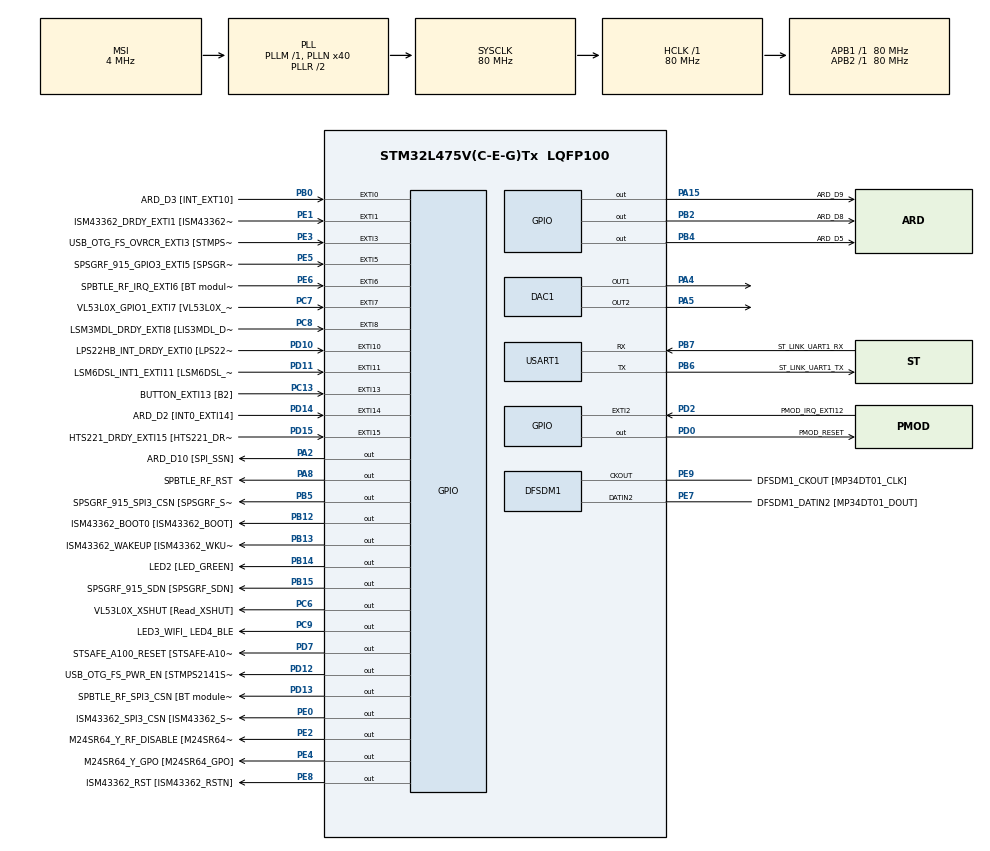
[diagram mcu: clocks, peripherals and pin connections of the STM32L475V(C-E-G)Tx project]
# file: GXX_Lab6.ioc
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DAC1.DAC_Channel-DAC_OUT2=DAC_CHANNEL_2
DFSDM1.DmaMode_reg_FIL0=ENABLE
DFSDM1.DmaMode_reg_FIL1=ENABLE
DFSDM1.FastMode_reg_FIL0=ENABLE
DFSDM1.FastMode_reg_FIL1=ENABLE
DFSDM1.Filter_regChannel_FIL0=DFSDM_CHANNEL_1
DFSDM1.Filter_regChannel_FIL1=DFSDM_CHANNEL_2
DFSDM1.Fosr_FIL0=128
DFSDM1.Fosr_FIL1=128
DFSDM1.SincOrder_FIL0=DFSDM_FILTER_SINC4_ORDER
DFSDM1.SincOrder_FIL1=DFSDM_FILTER_SINC4_ORDER
Dma.DAC_CH1.2.Direction=DMA_MEMORY_TO_PERIPH
Dma.DAC_CH1.2.Instance=DMA1_Channel3
Dma.DAC_CH1.2.MemDataAlignment=DMA_MDATAALIGN_HALFWORD
Dma.DAC_CH1.2.MemInc=DMA_MINC_ENABLE
Dma.DAC_CH1.2.Mode=DMA_NORMAL
Dma.DAC_CH1.2.PeriphDataAlignment=DMA_PDATAALIGN_HALFWORD
Dma.DAC_CH1.2.PeriphInc=DMA_PINC_DISABLE
Dma.DAC_CH1.2.Priority=DMA_PRIORITY_LOW
Dma.DAC_CH2.3.Direction=DMA_MEMORY_TO_PERIPH
Dma.DAC_CH2.3.Instance=DMA2_Channel5
Dma.DAC_CH2.3.MemDataAlignment=DMA_MDATAALIGN_HALFWORD
Dma.DAC_CH2.3.MemInc=DMA_MINC_ENABLE
Dma.DAC_CH2.3.Mode=DMA_NORMAL
Dma.DAC_CH2.3.PeriphDataAlignment=DMA_PDATAALIGN_HALFWORD
Dma.DAC_CH2.3.PeriphInc=DMA_PINC_DISABLE
Dma.DAC_CH2.3.Priority=DMA_PRIORITY_LOW
Dma.DFSDM1_FLT0.4.Direction=DMA_PERIPH_TO_MEMORY
Dma.DFSDM1_FLT0.4.Instance=DMA1_Channel4
Dma.DFSDM1_FLT0.4.MemDataAlignment=DMA_MDATAALIGN_WORD
Dma.DFSDM1_FLT0.4.MemInc=DMA_MINC_ENABLE
Dma.DFSDM1_FLT0.4.Mode=DMA_NORMAL
Dma.DFSDM1_FLT0.4.PeriphDataAlignment=DMA_PDATAALIGN_WORD
Dma.DFSDM1_FLT0.4.PeriphInc=DMA_PINC_DISABLE
Dma.DFSDM1_FLT0.4.Priority=DMA_PRIORITY_LOW
Dma.DFSDM1_FLT1.5.Direction=DMA_PERIPH_TO_MEMORY
Dma.DFSDM1_FLT1.5.Instance=DMA1_Channel5
Dma.DFSDM1_FLT1.5.MemDataAlignment=DMA_MDATAALIGN_WORD
Dma.DFSDM1_FLT1.5.MemInc=DMA_MINC_ENABLE
Dma.DFSDM1_FLT1.5.Mode=DMA_NORMAL
Dma.DFSDM1_FLT1.5.PeriphDataAlignment=DMA_PDATAALIGN_WORD
Dma.DFSDM1_FLT1.5.PeriphInc=DMA_PINC_DISABLE
Dma.DFSDM1_FLT1.5.Priority=DMA_PRIORITY_LOW
Dma.Request0=USART1_RX
Dma.Request1=USART1_TX
Dma.Request2=DAC_CH1
Dma.Request3=DAC_CH2
Dma.Request4=DFSDM1_FLT0
Dma.Request5=DFSDM1_FLT1
Dma.USART1_RX.0.Direction=DMA_PERIPH_TO_MEMORY
Dma.USART1_RX.0.Instance=DMA2_Channel7
Dma.USART1_RX.0.MemDataAlignment=DMA_MDATAALIGN_BYTE
Dma.USART1_RX.0.MemInc=DMA_MINC_ENABLE
Dma.USART1_RX.0.Mode=DMA_NORMAL
Dma.USART1_RX.0.PeriphDataAlignment=DMA_PDATAALIGN_BYTE
Dma.USART1_RX.0.PeriphInc=DMA_PINC_DISABLE
Dma.USART1_RX.0.Priority=DMA_PRIORITY_LOW
Dma.USART1_TX.1.Direction=DMA_MEMORY_TO_PERIPH
Dma.USART1_TX.1.Instance=DMA2_Channel6
Dma.USART1_TX.1.MemDataAlignment=DMA_MDATAALIGN_BYTE
Dma.USART1_TX.1.MemInc=DMA_MINC_ENABLE
Dma.USART1_TX.1.Mode=DMA_NORMAL
Dma.USART1_TX.1.PeriphDataAlignment=DMA_PDATAALIGN_BYTE
Dma.USART1_TX.1.PeriphInc=DMA_PINC_DISABLE
Dma.USART1_TX.1.Priority=DMA_PRIORITY_LOW
Mcu.Family=STM32L4
Mcu.Name=STM32L475V(C-E-G)Tx
Mcu.Package=LQFP100
NVIC.DFSDM1_FLT0_IRQn=true\:0\:0\:false\:false\:true\:true
NVIC.DFSDM1_FLT1_IRQn=true\:0\:0\:false\:false\:true\:true
NVIC.DMA1_Channel3_IRQn=true\:0\:0\:false\:false\:true\:false
NVIC.DMA1_Channel4_IRQn=true\:0\:0\:false\:false\:true\:false
NVIC.DMA1_Channel5_IRQn=true\:0\:0\:false\:false\:true\:false
NVIC.DMA2_Channel5_IRQn=true\:0\:0\:false\:false\:true\:false
NVIC.DMA2_Channel6_IRQn=true\:0\:0\:false\:false\:true\:false
NVIC.DMA2_Channel7_IRQn=true\:0\:0\:false\:false\:true\:false
NVIC.EXTI15_10_IRQn=true\:0\:0\:false\:false\:true\:true
NVIC.EXTI9_5_IRQn=true\:0\:0\:false\:false\:true\:true
NVIC.PriorityGroup=NVIC_PRIORITYGROUP_4
PA0.GPIO_Label=ARD_D1 [UART4_TX]
PA0.Signal=UART4_TX
PA1.GPIO_Label=ARD_D0 [UART4_RX]
PA1.Signal=UART4_RX
PA10.GPIO_Label=USB_OTG_FS_ID
PA10.Signal=USB_OTG_FS_ID
PA11.GPIO_Label=USB_OTG_FS_DM
PA11.Signal=USB_OTG_FS_DM
PA12.GPIO_Label=USB_OTG_FS_DP
PA12.Signal=USB_OTG_FS_DP
PA13\ (JTMS-SWDIO).GPIO_Label=SYS_JTMS_SWDIO
PA13\ (JTMS-SWDIO).Signal=SYS_JTMS-SWDIO
PA14\ (JTCK-SWCLK).GPIO_Label=SYS_JTCK_SWCLK
PA14\ (JTCK-SWCLK).Signal=SYS_JTCK-SWCLK
PA15\ (JTDI).GPIO_Label=ARD_D9
PA15\ (JTDI).Signal=GPIO_Output
PA2.GPIO_Label=ARD_D10 [SPI_SSN]
PA2.Signal=GPIO_Output
PA3.GPIO_Label=ARD_D4
PA3.Signal=S_TIM2_CH4
PA4.Signal=COMP_DAC11_group
PA5.Signal=COMP_DAC12_group
PA6.GPIO_Label=ARD_D12 [SPI1_MISO]
PA6.Signal=SPI1_MISO
PA7.GPIO_Label=ARD_D11 [SPI1_MOSI]
PA7.Signal=SPI1_MOSI
PA8.GPIO_Label=SPBTLE_RF_RST
PA8.Signal=GPIO_Output
PA9.GPIO_Label=USB_OTG_FS_VBUS [STMPS2141STR_OUT]
PA9.Signal=USB_OTG_FS_VBUS
PB0.GPIO_Label=ARD_D3 [INT_EXT10]
PB0.Signal=GPXTI0
PB1.GPIO_Label=ARD_D6 [ADC1_IN6]
PB1.Signal=ADCx_IN16
PB10.GPIO_Label=INTERNAL_I2C2_SCL [VL53L0X_SCL]
PB10.Signal=I2C2_SCL
PB11.GPIO_Label=INTERNAL_I2C2_SDA [VL53L0X_SDA]
PB11.Signal=I2C2_SDA
PB12.GPIO_Label=ISM43362_BOOT0 [ISM43362_BOOT]
PB12.Signal=GPIO_Output
PB13.GPIO_Label=ISM43362_WAKEUP [ISM43362_WKUP]
PB13.Signal=GPIO_Output
PB14.GPIO_Label=LED2 [LED_GREEN]
PB14.Signal=GPIO_Output
PB15.GPIO_Label=SPSGRF_915_SDN [SPSGRF_SDN]
PB15.Signal=GPIO_Output
PB2.GPIO_Label=ARD_D8
PB2.Signal=GPIO_Output
PB3\ (JTDO-TRACESWO).GPIO_Label=SYS_JTD0_SWO
PB3\ (JTDO-TRACESWO).Signal=SYS_JTDO-SWO
PB4\ (NJTRST).GPIO_Label=ARD_D5
PB4\ (NJTRST).Signal=GPIO_Output
PB5.GPIO_Label=SPSGRF_915_SPI3_CSN [SPSGRF_SPI_CS]
PB5.Signal=GPIO_Output
PB6.GPIO_Label=ST_LINK_UART1_TX
PB6.Mode=Asynchronous
PB6.Signal=USART1_TX
PB7.GPIO_Label=ST_LINK_UART1_RX
PB7.Mode=Asynchronous
PB7.Signal=USART1_RX
PB8.GPIO_Label=ARD_D15 [I2C1_SCL]
PB8.Signal=I2C1_SCL
PB9.GPIO_Label=ARD_D14 [I2C1_SDA]
PB9.Signal=I2C1_SDA
PC0.GPIO_Label=ARD_A5 [ADC]
PC0.Signal=ADCx_IN1
PC1.GPIO_Label=ARD_A4 [ADC]
PC1.Signal=ADCx_IN2
PC10.GPIO_Label=INTERNAL_SPI3_SCK [BT module_SPI_SCLK]
PC10.Signal=SPI3_SCK
PC11.GPIO_Label=INTERNAL_SPI3_MISO [BT module_SPI_MISO]
PC11.Signal=SPI3_MISO
PC12.GPIO_Label=INTERNAL_SPI3_MOSI [BT module_SPI_MOSI]
PC12.Signal=SPI3_MOSI
PC13.GPIO_Label=BUTTON_EXTI13 [B2]
PC13.GPIO_ModeDefaultEXTI=GPIO_MODE_IT_FALLING
PC13.Signal=GPXTI13
PC14-OSC32_IN\ (PC14).Signal=RCC_OSC32_IN
PC15-OSC32_OUT\ (PC15).Signal=RCC_OSC32_OUT
PC2.GPIO_Label=ARD_A3 [ADC]
PC2.Signal=ADCx_IN3
PC3.GPIO_Label=ARD_A2 [ADC]
PC3.Signal=ADCx_IN4
PC4.GPIO_Label=ARD_A1 [ADC]
PC4.Signal=ADCx_IN13
PC5.GPIO_Label=ARD_A0 [ADC]
PC5.Signal=ADCx_IN14
PC6.GPIO_Label=VL53L0X_XSHUT [Read_XSHUT]
PC6.Signal=GPIO_Output
PC7.GPIO_Label=VL53L0X_GPIO1_EXTI7 [VL53L0X_GPIO1]
PC7.Signal=GPXTI7
PC8.GPIO_Label=LSM3MDL_DRDY_EXTI8 [LIS3MDL_DRDY]
PC8.Signal=GPXTI8
PC9.GPIO_Label=LED3_WIFI_ LED4_BLE
PC9.Signal=GPIO_Output
PD0.GPIO_Label=PMOD_RESET
PD0.Signal=GPIO_Output
PD1.GPIO_Label=PMOD_SPI2_SCK
PD1.Signal=SPI2_SCK
PD10.GPIO_Label=LPS22HB_INT_DRDY_EXTI0 [LPS22HB_INT_DRDY] 
PD10.Signal=GPXTI10
PD11.GPIO_Label=LSM6DSL_INT1_EXTI11 [LSM6DSL_INT1]
PD11.Signal=GPXTI11
PD12.GPIO_Label=USB_OTG_FS_PWR_EN [STMPS2141STR_EN]
PD12.Signal=GPIO_Output
PD13.GPIO_Label=SPBTLE_RF_SPI3_CSN [BT module_SPI_CS]
PD13.Signal=GPIO_Output
PD14.GPIO_Label=ARD_D2 [INT0_EXTI14]
PD14.Signal=GPXTI14
PD15.GPIO_Label=HTS221_DRDY_EXTI15 [HTS221_DRDY]
PD15.Signal=GPXTI15
PD2.GPIO_Label=PMOD_IRQ_EXTI12
PD2.Signal=GPXTI2
PD3.GPIO_Label=PMOD_UART2_CTS
PD3.Signal=USART2_CTS
PD4.GPIO_Label=PMOD_UART2_RTS
PD4.Signal=USART2_RTS
PD5.GPIO_Label=PMOD_UART2_TX
PD5.Signal=USART2_TX
PD6.GPIO_Label=PMOD_UART2_RX
PD6.Signal=USART2_RX
PD7.GPIO_Label=STSAFE_A100_RESET [STSAFE-A100_RESET]
PD7.Signal=GPIO_Output
PD8.GPIO_Label=INTERNAL_UART3_TX [ISM43362_RX]
PD8.Signal=USART3_TX
PD9.GPIO_Label=INTERNAL_UART3_RX [ISM43362_TX]
PD9.Signal=USART3_RX
PE0.GPIO_Label=ISM43362_SPI3_CSN [ISM43362_SSN]
PE0.Signal=GPIO_Output
PE1.GPIO_Label=ISM43362_DRDY_EXTI1 [ISM43362_DATARDY]
PE1.Signal=GPXTI1
PE10.GPIO_Label=QUADSPI_CLK [MX25R6435F_SCLK]
PE10.Signal=QUADSPI_CLK
PE11.GPIO_Label=QUADSPI_NCS [MX25R6435F_SCLK]
PE11.Signal=QUADSPI_NCS
PE12.GPIO_Label=OQUADSPI_BK1_IO0 [MX25R6435F_IO0]
PE12.Signal=QUADSPI_BK1_IO0
PE13.GPIO_Label=QUADSPI_BK1_IO1 [MX25R6435F_IO1]
PE13.Signal=QUADSPI_BK1_IO1
PE14.GPIO_Label=QUAD_SPI_BK1_IO2 [MX25R6435F_IO2]
PE14.Signal=QUADSPI_BK1_IO2
PE15.GPIO_Label=QUAD_SPI_BK1_IO3 [MX25R6435F_IO3]
PE15.Signal=QUADSPI_BK1_IO3
PE2.GPIO_Label=M24SR64_Y_RF_DISABLE [M24SR64_RFDIS]
PE2.Signal=GPIO_Output
PE3.GPIO_Label=USB_OTG_FS_OVRCR_EXTI3 [STMPS2141STR_FAULT]
PE3.Signal=GPXTI3
PE4.GPIO_Label=M24SR64_Y_GPO [M24SR64_GPO]
PE4.Signal=GPIO_Output
PE5.GPIO_Label=SPSGRF_915_GPIO3_EXTI5 [SPSGRF_GPIO_3]
PE5.Signal=GPXTI5
PE6.GPIO_Label=SPBTLE_RF_IRQ_EXTI6 [BT module_SPI_IRQ]
PE6.Signal=GPXTI6
PE7.GPIO_Label=DFSDM1_DATIN2 [MP34DT01_DOUT]
PE7.Signal=S_DATAIN2DFSDM1
PE8.GPIO_Label=ISM43362_RST [ISM43362_RSTN]
PE8.Signal=GPIO_Output
PE9.GPIO_Label=DFSDM1_CKOUT [MP34DT01_CLK]
PE9.Signal=S_CKOUTDFSDM1
ProjectManager.HeapSize=0x200
ProjectManager.StackSize=0x400
ProjectManager.TargetToolchain=MDK-ARM V5
RCC.ADCFreq_Value=48000000
RCC.AHBFreq_Value=80000000
RCC.APB1Freq_Value=80000000
RCC.APB1TimFreq_Value=80000000
RCC.APB2Freq_Value=80000000
RCC.APB2TimFreq_Value=80000000
RCC.CortexFreq_Value=80000000
RCC.HCLKFreq_Value=80000000
RCC.HSE_VALUE=8000000
RCC.HSI_VALUE=16000000
RCC.LSE_VALUE=32768
RCC.MSI_VALUE=4000000
RCC.PLLN=40
RCC.PLLSAI1N=24
RCC.SYSCLKFreq_VALUE=80000000
RCC.SYSCLKSource=RCC_SYSCLKSOURCE_PLLCLK
RCC.USBFreq_Value=48000000
RCC.VCOOutputFreq_Value=160000000
SH.ADCx_IN1.0=ADC1_IN1
SH.ADCx_IN13.0=ADC1_IN13
SH.ADCx_IN14.0=ADC1_IN14
SH.ADCx_IN16.0=ADC1_IN16
SH.ADCx_IN2.0=ADC1_IN2
SH.ADCx_IN3.0=ADC1_IN3
SH.ADCx_IN4.0=ADC1_IN4
SH.COMP_DAC11_group.0=DAC1_OUT1,DAC_OUT1
SH.COMP_DAC12_group.0=DAC1_OUT2,DAC_OUT2
SH.S_CKOUTDFSDM1.0=DFSDM1_CKOUT,PDM_SPI_input_from_ch2_and_internal_clock
SH.S_CKOUTDFSDM1.1=DFSDM1_CKOUT,PDM_SPI_Input_from_ch12_and_Internal_Clock
SH.S_DATAIN2DFSDM1.0=DFSDM1_DATIN2,PDM_SPI_input_from_ch2_and_internal_clock
SH.S_DATAIN2DFSDM1.1=DFSDM1_DATIN2,PDM_SPI_Input_from_ch12_and_Internal_Clock
SH.S_TIM2_CH4.0=TIM2_CH4
USART1.VirtualMode-Asynchronous=VM_ASYNC
board=B-L475E-IOT01A

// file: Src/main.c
/**
  ******************************************************************************
  * @file           : main.c
  * @brief          : Main program body
  ******************************************************************************
  ** This notice applies to any and all portions of this file
  * that are not between comment pairs USER CODE BEGIN and
  * USER CODE END. Other portions of this file, whether
  * inserted by the user or by software development tools
  * are owned by their respective copyright owners.
  *
  * COPYRIGHT(c) 2018 STMicroelectronics
  *
  * Redistribution and use in source and binary forms, with or without modification,
  * are permitted provided that the following conditions are met:
  *   1. Redistributions of source code must retain the above copyright notice,
  *      this list of conditions and the following disclaimer.
  *   2. Redistributions in binary form must reproduce the above copyright notice,
  *      this list of conditions and the following disclaimer in the documentation
  *      and/or other materials provided with the distribution.
  *   3. Neither the name of STMicroelectronics nor the names of its contributors
  *      may be used to endorse or promote products derived from this software
  *      without specific prior written permission.
  *
  * THIS SOFTWARE IS PROVIDED BY THE COPYRIGHT HOLDERS AND CONTRIBUTORS "AS IS"
  * AND ANY EXPRESS OR IMPLIED WARRANTIES, INCLUDING, BUT NOT LIMITED TO, THE
  * IMPLIED WARRANTIES OF MERCHANTABILITY AND FITNESS FOR A PARTICULAR PURPOSE ARE
  * DISCLAIMED. IN NO EVENT SHALL THE COPYRIGHT HOLDER OR CONTRIBUTORS BE LIABLE
  * FOR ANY DIRECT, INDIRECT, INCIDENTAL, SPECIAL, EXEMPLARY, OR CONSEQUENTIAL
  * DAMAGES (INCLUDING, BUT NOT LIMITED TO, PROCUREMENT OF SUBSTITUTE GOODS OR
  * SERVICES; LOSS OF USE, DATA, OR PROFITS; OR BUSINESS INTERRUPTION) HOWEVER
  * CAUSED AND ON ANY THEORY OF LIABILITY, WHETHER IN CONTRACT, STRICT LIABILITY,
  * OR TORT (INCLUDING NEGLIGENCE OR OTHERWISE) ARISING IN ANY WAY OUT OF THE USE
  * OF THIS SOFTWARE, EVEN IF ADVISED OF THE POSSIBILITY OF SUCH DAMAGE.
  *
  ******************************************************************************
  */
#include "main.h"
#include "stm32l4xx_hal.h"

DAC_HandleTypeDef hdac1;
DMA_HandleTypeDef hdma_dac_ch1;
DMA_HandleTypeDef hdma_dac_ch2;

DFSDM_Filter_HandleTypeDef hdfsdm1_filter0;
DFSDM_Filter_HandleTypeDef hdfsdm1_filter1;
DFSDM_Channel_HandleTypeDef hdfsdm1_channel1;
DFSDM_Channel_HandleTypeDef hdfsdm1_channel2;
DMA_HandleTypeDef hdma_dfsdm1_flt0;
DMA_HandleTypeDef hdma_dfsdm1_flt1;

UART_HandleTypeDef huart1;
DMA_HandleTypeDef hdma_usart1_rx;
DMA_HandleTypeDef hdma_usart1_tx;

/* USER CODE BEGIN PV */
/* Private variables ---------------------------------------------------------*/

/* USER CODE END PV */

void SystemClock_Config(void);
static void MX_GPIO_Init(void);
static void MX_DMA_Init(void);
static void MX_USART1_UART_Init(void);
static void MX_DAC1_Init(void);
static void MX_DFSDM1_Init(void);

/* USER CODE BEGIN PFP */
/* Private function prototypes -----------------------------------------------*/

/* USER CODE END PFP */

/* USER CODE BEGIN 0 */
int DFSDM_flag = 0;
int timeout_flag = 0;
int32_t l_data, r_data;
uint32_t l_channel=1, r_channel=2;
unsigned char char_array[13] ={'R',':',' ',' ',' ',' ','L',':',' ',' ',' ',' ','\n'};

/* USER CODE END 0 */

int main(void)
{

  /* MCU Configuration----------------------------------------------------------*/

  /* Reset of all peripherals, Initializes the Flash interface and the Systick. */
  HAL_Init();

  /* Configure the system clock */
  SystemClock_Config();

  /* Initialize all configured peripherals */
  MX_GPIO_Init();
  MX_DMA_Init();
  MX_DAC1_Init();
  MX_DFSDM1_Init();
  MX_USART1_UART_Init();
  /* USER CODE BEGIN 2 */
//			HAL_DFSDM_FilterRegularStart(&hdfsdm1_filter0);
//			HAL_DFSDM_FilterRegularStart(&hdfsdm1_filter1);
  /* USER CODE END 2 */

  /* Infinite loop */
  /* USER CODE BEGIN WHILE */
  while (1)
  {
		HAL_DAC_Start(&hdac1,DAC_CHANNEL_1);
		HAL_DAC_Start(&hdac1,DAC_CHANNEL_2);
  /* USER CODE END WHILE */

  /* USER CODE BEGIN 3 */
			HAL_DFSDM_FilterRegularStart(&hdfsdm1_filter0);
			HAL_DFSDM_FilterRegularStart(&hdfsdm1_filter1);

		if (HAL_GPIO_ReadPin(GPIOC, GPIO_PIN_13)){ // read button status
			int a = 0;
			while(HAL_GPIO_ReadPin(GPIOC, GPIO_PIN_13)){
				a++;
				if (a == 10000){break;}
			}
			HAL_DAC_SetValue(&hdac1,DAC_CHANNEL_1,DAC_ALIGN_8B_R, 0);//GPIO Pin D7
			HAL_DAC_SetValue(&hdac1,DAC_CHANNEL_2,DAC_ALIGN_8B_R, 0);//GPIO Pin D13
			HAL_GPIO_WritePin(GPIOB, GPIO_PIN_14, GPIO_PIN_RESET); // clear if the button is not pressed
		}else{
			HAL_GPIO_WritePin(GPIOB, GPIO_PIN_14, GPIO_PIN_SET); //turn on if the button is pressed
//			if (timeout_flag == 1){
//				timeout_flag = 0;
				// might need to deal with rising edge and falling edge detection
				if(HAL_DFSDM_FilterPollForRegConversion(&hdfsdm1_filter0,1)==HAL_OK){
					l_data = HAL_DFSDM_FilterGetRegularValue(&hdfsdm1_filter0,&l_channel);
					r_data = HAL_DFSDM_FilterGetRegularValue(&hdfsdm1_filter1,&r_channel);

					char_array[2] = r_data/1000 + 48;
					char_array[3] = r_data%1000 / 100 + 48;
					char_array[4] = r_data%100 / 10 + 48;
					char_array[5] = r_data%10 + 48;

					char_array[8] = l_data/1000 + 48;
					char_array[9] = l_data%1000 / 100 + 48;
					char_array[10] = l_data%100 / 10 + 48;
					char_array[11] = l_data%10 + 48;
					HAL_UART_Transmit_DMA(&huart1,&char_array[0],13);
					HAL_DAC_SetValue(&hdac1,DAC_CHANNEL_1,DAC_ALIGN_12B_R, l_data/2);//GPIO Pin D7
					HAL_DAC_SetValue(&hdac1,DAC_CHANNEL_2,DAC_ALIGN_12B_R, r_data/2);//GPIO Pin D13
				}

//			}
//		}

		}
  }
  /* USER CODE END 3 */

}

void SystemClock_Config(void)
{

  RCC_OscInitTypeDef RCC_OscInitStruct;
  RCC_ClkInitTypeDef RCC_ClkInitStruct;
  RCC_PeriphCLKInitTypeDef PeriphClkInit;

    /**Initializes the CPU, AHB and APB busses clocks
    */
  RCC_OscInitStruct.OscillatorType = RCC_OSCILLATORTYPE_MSI;
  RCC_OscInitStruct.MSIState = RCC_MSI_ON;
  RCC_OscInitStruct.MSICalibrationValue = 0;
  RCC_OscInitStruct.MSIClockRange = RCC_MSIRANGE_6;
  RCC_OscInitStruct.PLL.PLLState = RCC_PLL_ON;
  RCC_OscInitStruct.PLL.PLLSource = RCC_PLLSOURCE_MSI;
  RCC_OscInitStruct.PLL.PLLM = 1;
  RCC_OscInitStruct.PLL.PLLN = 40;
  RCC_OscInitStruct.PLL.PLLP = RCC_PLLP_DIV7;
  RCC_OscInitStruct.PLL.PLLQ = RCC_PLLQ_DIV2;
  RCC_OscInitStruct.PLL.PLLR = RCC_PLLR_DIV2;
  if (HAL_RCC_OscConfig(&RCC_OscInitStruct) != HAL_OK)
  {
    _Error_Handler(__FILE__, __LINE__);
  }

    /**Initializes the CPU, AHB and APB busses clocks
    */
  RCC_ClkInitStruct.ClockType = RCC_CLOCKTYPE_HCLK|RCC_CLOCKTYPE_SYSCLK
                              |RCC_CLOCKTYPE_PCLK1|RCC_CLOCKTYPE_PCLK2;
  RCC_ClkInitStruct.SYSCLKSource = RCC_SYSCLKSOURCE_PLLCLK;
  RCC_ClkInitStruct.AHBCLKDivider = RCC_SYSCLK_DIV1;
  RCC_ClkInitStruct.APB1CLKDivider = RCC_HCLK_DIV1;
  RCC_ClkInitStruct.APB2CLKDivider = RCC_HCLK_DIV1;

  if (HAL_RCC_ClockConfig(&RCC_ClkInitStruct, FLASH_LATENCY_4) != HAL_OK)
  {
    _Error_Handler(__FILE__, __LINE__);
  }

  PeriphClkInit.PeriphClockSelection = RCC_PERIPHCLK_USART1|RCC_PERIPHCLK_DFSDM1;
  PeriphClkInit.Usart1ClockSelection = RCC_USART1CLKSOURCE_PCLK2;
  PeriphClkInit.Dfsdm1ClockSelection = RCC_DFSDM1CLKSOURCE_PCLK;
  if (HAL_RCCEx_PeriphCLKConfig(&PeriphClkInit) != HAL_OK)
  {
    _Error_Handler(__FILE__, __LINE__);
  }

    /**Configure the main internal regulator output voltage
    */
  if (HAL_PWREx_ControlVoltageScaling(PWR_REGULATOR_VOLTAGE_SCALE1) != HAL_OK)
  {
    _Error_Handler(__FILE__, __LINE__);
  }

    /**Configure the Systick interrupt time
    */
  HAL_SYSTICK_Config(HAL_RCC_GetHCLKFreq()/1000);

    /**Configure the Systick
    */
  HAL_SYSTICK_CLKSourceConfig(SYSTICK_CLKSOURCE_HCLK);

  /* SysTick_IRQn interrupt configuration */
  HAL_NVIC_SetPriority(SysTick_IRQn, 0, 0);
}

/* DAC1 init function */
static void MX_DAC1_Init(void)
{

  DAC_ChannelConfTypeDef sConfig;

    /**DAC Initialization
    */
  hdac1.Instance = DAC1;
  if (HAL_DAC_Init(&hdac1) != HAL_OK)
  {
    _Error_Handler(__FILE__, __LINE__);
  }

    /**DAC channel OUT1 config
    */
  sConfig.DAC_SampleAndHold = DAC_SAMPLEANDHOLD_DISABLE;
  sConfig.DAC_Trigger = DAC_TRIGGER_NONE;
  sConfig.DAC_OutputBuffer = DAC_OUTPUTBUFFER_ENABLE;
  sConfig.DAC_ConnectOnChipPeripheral = DAC_CHIPCONNECT_DISABLE;
  sConfig.DAC_UserTrimming = DAC_TRIMMING_FACTORY;
  if (HAL_DAC_ConfigChannel(&hdac1, &sConfig, DAC_CHANNEL_1) != HAL_OK)
  {
    _Error_Handler(__FILE__, __LINE__);
  }

    /**DAC channel OUT2 config
    */
  sConfig.DAC_ConnectOnChipPeripheral = DAC_CHIPCONNECT_DISABLE;
  if (HAL_DAC_ConfigChannel(&hdac1, &sConfig, DAC_CHANNEL_2) != HAL_OK)
  {
    _Error_Handler(__FILE__, __LINE__);
  }

}

/* DFSDM1 init function */
static void MX_DFSDM1_Init(void)
{

  hdfsdm1_filter0.Instance = DFSDM1_Filter0;
  hdfsdm1_filter0.Init.RegularParam.Trigger = DFSDM_FILTER_SW_TRIGGER;
  hdfsdm1_filter0.Init.RegularParam.FastMode = ENABLE;
  hdfsdm1_filter0.Init.RegularParam.DmaMode = ENABLE;
  hdfsdm1_filter0.Init.FilterParam.SincOrder = DFSDM_FILTER_SINC4_ORDER;
  hdfsdm1_filter0.Init.FilterParam.Oversampling = 100;
  hdfsdm1_filter0.Init.FilterParam.IntOversampling = 1;
  if (HAL_DFSDM_FilterInit(&hdfsdm1_filter0) != HAL_OK)
  {
    _Error_Handler(__FILE__, __LINE__);
  }

  hdfsdm1_filter1.Instance = DFSDM1_Filter1;
  hdfsdm1_filter1.Init.RegularParam.Trigger = DFSDM_FILTER_SW_TRIGGER;
  hdfsdm1_filter1.Init.RegularParam.FastMode = ENABLE;
  hdfsdm1_filter1.Init.RegularParam.DmaMode = ENABLE;
  hdfsdm1_filter1.Init.FilterParam.SincOrder = DFSDM_FILTER_SINC4_ORDER;
  hdfsdm1_filter1.Init.FilterParam.Oversampling = 100;
  hdfsdm1_filter1.Init.FilterParam.IntOversampling = 1;
  if (HAL_DFSDM_FilterInit(&hdfsdm1_filter1) != HAL_OK)
  {
    _Error_Handler(__FILE__, __LINE__);
  }

  hdfsdm1_channel1.Instance = DFSDM1_Channel1;
  hdfsdm1_channel1.Init.OutputClock.Activation = ENABLE;
  hdfsdm1_channel1.Init.OutputClock.Selection = DFSDM_CHANNEL_OUTPUT_CLOCK_SYSTEM;
  hdfsdm1_channel1.Init.OutputClock.Divider = 50;
  hdfsdm1_channel1.Init.Input.Multiplexer = DFSDM_CHANNEL_EXTERNAL_INPUTS;
  hdfsdm1_channel1.Init.Input.DataPacking = DFSDM_CHANNEL_STANDARD_MODE;
  hdfsdm1_channel1.Init.Input.Pins = DFSDM_CHANNEL_FOLLOWING_CHANNEL_PINS;
  hdfsdm1_channel1.Init.SerialInterface.Type = DFSDM_CHANNEL_SPI_RISING;
  hdfsdm1_channel1.Init.SerialInterface.SpiClock = DFSDM_CHANNEL_SPI_CLOCK_INTERNAL;
  hdfsdm1_channel1.Init.Awd.FilterOrder = DFSDM_CHANNEL_FASTSINC_ORDER;
  hdfsdm1_channel1.Init.Awd.Oversampling = 1;
  hdfsdm1_channel1.Init.Offset = -500;
  hdfsdm1_channel1.Init.RightBitShift = 0x0C;
  if (HAL_DFSDM_ChannelInit(&hdfsdm1_channel1) != HAL_OK)
  {
    _Error_Handler(__FILE__, __LINE__);
  }

  hdfsdm1_channel2.Instance = DFSDM1_Channel2;
  hdfsdm1_channel2.Init.OutputClock.Activation = ENABLE;
  hdfsdm1_channel2.Init.OutputClock.Selection = DFSDM_CHANNEL_OUTPUT_CLOCK_SYSTEM;
  hdfsdm1_channel2.Init.OutputClock.Divider = 50;
  hdfsdm1_channel2.Init.Input.Multiplexer = DFSDM_CHANNEL_EXTERNAL_INPUTS;
  hdfsdm1_channel2.Init.Input.DataPacking = DFSDM_CHANNEL_STANDARD_MODE;
  hdfsdm1_channel2.Init.Input.Pins = DFSDM_CHANNEL_SAME_CHANNEL_PINS;
  hdfsdm1_channel2.Init.SerialInterface.Type = DFSDM_CHANNEL_SPI_RISING;
  hdfsdm1_channel2.Init.SerialInterface.SpiClock = DFSDM_CHANNEL_SPI_CLOCK_INTERNAL;
  hdfsdm1_channel2.Init.Awd.FilterOrder = DFSDM_CHANNEL_FASTSINC_ORDER;
  hdfsdm1_channel2.Init.Awd.Oversampling = 1;
  hdfsdm1_channel2.Init.Offset = -500;
  hdfsdm1_channel2.Init.RightBitShift = 0x0C;
  if (HAL_DFSDM_ChannelInit(&hdfsdm1_channel2) != HAL_OK)
  {
    _Error_Handler(__FILE__, __LINE__);
  }

  if (HAL_DFSDM_FilterConfigRegChannel(&hdfsdm1_filter0, DFSDM_CHANNEL_1, DFSDM_CONTINUOUS_CONV_ON) != HAL_OK)
  {
    _Error_Handler(__FILE__, __LINE__);
  }

  if (HAL_DFSDM_FilterConfigRegChannel(&hdfsdm1_filter1, DFSDM_CHANNEL_2, DFSDM_CONTINUOUS_CONV_ON) != HAL_OK)
  {
    _Error_Handler(__FILE__, __LINE__);
  }

}

/* USART1 init function */
static void MX_USART1_UART_Init(void)
{

  huart1.Instance = USART1;
  huart1.Init.BaudRate = 115200;
  huart1.Init.WordLength = UART_WORDLENGTH_8B;
  huart1.Init.StopBits = UART_STOPBITS_1;
  huart1.Init.Parity = UART_PARITY_NONE;
  huart1.Init.Mode = UART_MODE_TX_RX;
  huart1.Init.HwFlowCtl = UART_HWCONTROL_NONE;
  huart1.Init.OverSampling = UART_OVERSAMPLING_16;
  huart1.Init.OneBitSampling = UART_ONE_BIT_SAMPLE_DISABLE;
  huart1.AdvancedInit.AdvFeatureInit = UART_ADVFEATURE_NO_INIT;
  if (HAL_UART_Init(&huart1) != HAL_OK)
  {
    _Error_Handler(__FILE__, __LINE__);
  }

}

static void MX_DMA_Init(void)
{
  /* DMA controller clock enable */
  __HAL_RCC_DMA2_CLK_ENABLE();
  __HAL_RCC_DMA1_CLK_ENABLE();

  /* DMA interrupt init */
  /* DMA1_Channel3_IRQn interrupt configuration */
  HAL_NVIC_SetPriority(DMA1_Channel3_IRQn, 0, 0);
  HAL_NVIC_EnableIRQ(DMA1_Channel3_IRQn);
  /* DMA1_Channel4_IRQn interrupt configuration */
  HAL_NVIC_SetPriority(DMA1_Channel4_IRQn, 0, 0);
  HAL_NVIC_EnableIRQ(DMA1_Channel4_IRQn);
  /* DMA1_Channel5_IRQn interrupt configuration */
  HAL_NVIC_SetPriority(DMA1_Channel5_IRQn, 0, 0);
  HAL_NVIC_EnableIRQ(DMA1_Channel5_IRQn);
  /* DMA2_Channel5_IRQn interrupt configuration */
  HAL_NVIC_SetPriority(DMA2_Channel5_IRQn, 0, 0);
  HAL_NVIC_EnableIRQ(DMA2_Channel5_IRQn);
  /* DMA2_Channel6_IRQn interrupt configuration */
  HAL_NVIC_SetPriority(DMA2_Channel6_IRQn, 0, 0);
  HAL_NVIC_EnableIRQ(DMA2_Channel6_IRQn);
  /* DMA2_Channel7_IRQn interrupt configuration */
  HAL_NVIC_SetPriority(DMA2_Channel7_IRQn, 0, 0);
  HAL_NVIC_EnableIRQ(DMA2_Channel7_IRQn);

}

/** Configure pins as
        * Analog
        * Input
        * Output
        * EVENT_OUT
        * EXTI
     PC0   ------> ADCx_IN1
     PC1   ------> ADCx_IN2
     PC2   ------> ADCx_IN3
     PC3   ------> ADCx_IN4
     PA0   ------> UART4_TX
     PA1   ------> UART4_RX
     PA3   ------> S_TIM2_CH4
     PA6   ------> SPI1_MISO
     PA7   ------> SPI1_MOSI
     PC4   ------> ADCx_IN13
     PC5   ------> ADCx_IN14
     PB1   ------> ADCx_IN16
     PE10   ------> QUADSPI_CLK
     PE11   ------> QUADSPI_NCS
     PE12   ------> QUADSPI_BK1_IO0
     PE13   ------> QUADSPI_BK1_IO1
     PE14   ------> QUADSPI_BK1_IO2
     PE15   ------> QUADSPI_BK1_IO3
     PB10   ------> I2C2_SCL
     PB11   ------> I2C2_SDA
     PD8   ------> USART3_TX
     PD9   ------> USART3_RX
     PA9   ------> USB_OTG_FS_VBUS
     PA10   ------> USB_OTG_FS_ID
     PA11   ------> USB_OTG_FS_DM
     PA12   ------> USB_OTG_FS_DP
     PC10   ------> SPI3_SCK
     PC11   ------> SPI3_MISO
     PC12   ------> SPI3_MOSI
     PD1   ------> SPI2_SCK
     PD3   ------> USART2_CTS
     PD4   ------> USART2_RTS
     PD5   ------> USART2_TX
     PD6   ------> USART2_RX
     PB8   ------> I2C1_SCL
     PB9   ------> I2C1_SDA
*/
static void MX_GPIO_Init(void)
{

  GPIO_InitTypeDef GPIO_InitStruct;

  /* GPIO Ports Clock Enable */
  __HAL_RCC_GPIOE_CLK_ENABLE();
  __HAL_RCC_GPIOC_CLK_ENABLE();
  __HAL_RCC_GPIOA_CLK_ENABLE();
  __HAL_RCC_GPIOB_CLK_ENABLE();
  __HAL_RCC_GPIOD_CLK_ENABLE();

  /*Configure GPIO pin Output Level */
  HAL_GPIO_WritePin(GPIOE, M24SR64_Y_RF_DISABLE_Pin|M24SR64_Y_GPO_Pin|ISM43362_RST_Pin|ISM43362_SPI3_CSN_Pin, GPIO_PIN_RESET);

  /*Configure GPIO pin Output Level */
  HAL_GPIO_WritePin(GPIOA, ARD_D10_Pin|SPBTLE_RF_RST_Pin|ARD_D9_Pin, GPIO_PIN_RESET);

  /*Configure GPIO pin Output Level */
  HAL_GPIO_WritePin(GPIOB, ARD_D8_Pin|ISM43362_BOOT0_Pin|ISM43362_WAKEUP_Pin|LED2_Pin
                          |SPSGRF_915_SDN_Pin|ARD_D5_Pin|SPSGRF_915_SPI3_CSN_Pin, GPIO_PIN_RESET);

  /*Configure GPIO pin Output Level */
  HAL_GPIO_WritePin(GPIOD, USB_OTG_FS_PWR_EN_Pin|SPBTLE_RF_SPI3_CSN_Pin|PMOD_RESET_Pin|STSAFE_A100_RESET_Pin, GPIO_PIN_RESET);

  /*Configure GPIO pin Output Level */
  HAL_GPIO_WritePin(GPIOC, VL53L0X_XSHUT_Pin|LED3_WIFI__LED4_BLE_Pin, GPIO_PIN_RESET);

  /*Configure GPIO pins : M24SR64_Y_RF_DISABLE_Pin M24SR64_Y_GPO_Pin ISM43362_RST_Pin ISM43362_SPI3_CSN_Pin */
  GPIO_InitStruct.Pin = M24SR64_Y_RF_DISABLE_Pin|M24SR64_Y_GPO_Pin|ISM43362_RST_Pin|ISM43362_SPI3_CSN_Pin;
  GPIO_InitStruct.Mode = GPIO_MODE_OUTPUT_PP;
  GPIO_InitStruct.Pull = GPIO_NOPULL;
  GPIO_InitStruct.Speed = GPIO_SPEED_FREQ_LOW;
  HAL_GPIO_Init(GPIOE, &GPIO_InitStruct);

  /*Configure GPIO pins : USB_OTG_FS_OVRCR_EXTI3_Pin SPSGRF_915_GPIO3_EXTI5_Pin SPBTLE_RF_IRQ_EXTI6_Pin ISM43362_DRDY_EXTI1_Pin */
  GPIO_InitStruct.Pin = USB_OTG_FS_OVRCR_EXTI3_Pin|SPSGRF_915_GPIO3_EXTI5_Pin|SPBTLE_RF_IRQ_EXTI6_Pin|ISM43362_DRDY_EXTI1_Pin;
  GPIO_InitStruct.Mode = GPIO_MODE_IT_RISING;
  GPIO_InitStruct.Pull = GPIO_NOPULL;
  HAL_GPIO_Init(GPIOE, &GPIO_InitStruct);

  /*Configure GPIO pin : BUTTON_EXTI13_Pin */
  GPIO_InitStruct.Pin = BUTTON_EXTI13_Pin;
  GPIO_InitStruct.Mode = GPIO_MODE_IT_FALLING;
  GPIO_InitStruct.Pull = GPIO_NOPULL;
  HAL_GPIO_Init(BUTTON_EXTI13_GPIO_Port, &GPIO_InitStruct);

  /*Configure GPIO pins : ARD_A5_Pin ARD_A4_Pin ARD_A3_Pin ARD_A2_Pin
                           ARD_A1_Pin ARD_A0_Pin */
  GPIO_InitStruct.Pin = ARD_A5_Pin|ARD_A4_Pin|ARD_A3_Pin|ARD_A2_Pin
                          |ARD_A1_Pin|ARD_A0_Pin;
  GPIO_InitStruct.Mode = GPIO_MODE_ANALOG_ADC_CONTROL;
  GPIO_InitStruct.Pull = GPIO_NOPULL;
  HAL_GPIO_Init(GPIOC, &GPIO_InitStruct);

  /*Configure GPIO pins : ARD_D1_Pin ARD_D0_Pin */
  GPIO_InitStruct.Pin = ARD_D1_Pin|ARD_D0_Pin;
  GPIO_InitStruct.Mode = GPIO_MODE_AF_PP;
  GPIO_InitStruct.Pull = GPIO_NOPULL;
  GPIO_InitStruct.Speed = GPIO_SPEED_FREQ_VERY_HIGH;
  GPIO_InitStruct.Alternate = GPIO_AF8_UART4;
  HAL_GPIO_Init(GPIOA, &GPIO_InitStruct);

  /*Configure GPIO pins : ARD_D10_Pin SPBTLE_RF_RST_Pin ARD_D9_Pin */
  GPIO_InitStruct.Pin = ARD_D10_Pin|SPBTLE_RF_RST_Pin|ARD_D9_Pin;
  GPIO_InitStruct.Mode = GPIO_MODE_OUTPUT_PP;
  GPIO_InitStruct.Pull = GPIO_NOPULL;
  GPIO_InitStruct.Speed = GPIO_SPEED_FREQ_LOW;
  HAL_GPIO_Init(GPIOA, &GPIO_InitStruct);

  /*Configure GPIO pin : ARD_D4_Pin */
  GPIO_InitStruct.Pin = ARD_D4_Pin;
  GPIO_InitStruct.Mode = GPIO_MODE_AF_PP;
  GPIO_InitStruct.Pull = GPIO_NOPULL;
  GPIO_InitStruct.Speed = GPIO_SPEED_FREQ_LOW;
  GPIO_InitStruct.Alternate = GPIO_AF1_TIM2;
  HAL_GPIO_Init(ARD_D4_GPIO_Port, &GPIO_InitStruct);

  /*Configure GPIO pins : ARD_D12_Pin ARD_D11_Pin */
  GPIO_InitStruct.Pin = ARD_D12_Pin|ARD_D11_Pin;
  GPIO_InitStruct.Mode = GPIO_MODE_AF_PP;
  GPIO_InitStruct.Pull = GPIO_NOPULL;
  GPIO_InitStruct.Speed = GPIO_SPEED_FREQ_VERY_HIGH;
  GPIO_InitStruct.Alternate = GPIO_AF5_SPI1;
  HAL_GPIO_Init(GPIOA, &GPIO_InitStruct);

  /*Configure GPIO pin : ARD_D3_Pin */
  GPIO_InitStruct.Pin = ARD_D3_Pin;
  GPIO_InitStruct.Mode = GPIO_MODE_IT_RISING;
  GPIO_InitStruct.Pull = GPIO_NOPULL;
  HAL_GPIO_Init(ARD_D3_GPIO_Port, &GPIO_InitStruct);

  /*Configure GPIO pin : ARD_D6_Pin */
  GPIO_InitStruct.Pin = ARD_D6_Pin;
  GPIO_InitStruct.Mode = GPIO_MODE_ANALOG_ADC_CONTROL;
  GPIO_InitStruct.Pull = GPIO_NOPULL;
  HAL_GPIO_Init(ARD_D6_GPIO_Port, &GPIO_InitStruct);

  /*Configure GPIO pins : ARD_D8_Pin ISM43362_BOOT0_Pin ISM43362_WAKEUP_Pin LED2_Pin
                           SPSGRF_915_SDN_Pin ARD_D5_Pin SPSGRF_915_SPI3_CSN_Pin */
  GPIO_InitStruct.Pin = ARD_D8_Pin|ISM43362_BOOT0_Pin|ISM43362_WAKEUP_Pin|LED2_Pin
                          |SPSGRF_915_SDN_Pin|ARD_D5_Pin|SPSGRF_915_SPI3_CSN_Pin;
  GPIO_InitStruct.Mode = GPIO_MODE_OUTPUT_PP;
  GPIO_InitStruct.Pull = GPIO_NOPULL;
  GPIO_InitStruct.Speed = GPIO_SPEED_FREQ_LOW;
  HAL_GPIO_Init(GPIOB, &GPIO_InitStruct);

  /*Configure GPIO pins : QUADSPI_CLK_Pin QUADSPI_NCS_Pin OQUADSPI_BK1_IO0_Pin QUADSPI_BK1_IO1_Pin
                           QUAD_SPI_BK1_IO2_Pin QUAD_SPI_BK1_IO3_Pin */
  GPIO_InitStruct.Pin = QUADSPI_CLK_Pin|QUADSPI_NCS_Pin|OQUADSPI_BK1_IO0_Pin|QUADSPI_BK1_IO1_Pin
                          |QUAD_SPI_BK1_IO2_Pin|QUAD_SPI_BK1_IO3_Pin;
  GPIO_InitStruct.Mode = GPIO_MODE_AF_PP;
  GPIO_InitStruct.Pull = GPIO_NOPULL;
  GPIO_InitStruct.Speed = GPIO_SPEED_FREQ_VERY_HIGH;
  GPIO_InitStruct.Alternate = GPIO_AF10_QUADSPI;
  HAL_GPIO_Init(GPIOE, &GPIO_InitStruct);

  /*Configure GPIO pins : INTERNAL_I2C2_SCL_Pin INTERNAL_I2C2_SDA_Pin */
  GPIO_InitStruct.Pin = INTERNAL_I2C2_SCL_Pin|INTERNAL_I2C2_SDA_Pin;
  GPIO_InitStruct.Mode = GPIO_MODE_AF_OD;
  GPIO_InitStruct.Pull = GPIO_PULLUP;
  GPIO_InitStruct.Speed = GPIO_SPEED_FREQ_VERY_HIGH;
  GPIO_InitStruct.Alternate = GPIO_AF4_I2C2;
  HAL_GPIO_Init(GPIOB, &GPIO_InitStruct);

  /*Configure GPIO pins : INTERNAL_UART3_TX_Pin INTERNAL_UART3_RX_Pin */
  GPIO_InitStruct.Pin = INTERNAL_UART3_TX_Pin|INTERNAL_UART3_RX_Pin;
  GPIO_InitStruct.Mode = GPIO_MODE_AF_PP;
  GPIO_InitStruct.Pull = GPIO_NOPULL;
  GPIO_InitStruct.Speed = GPIO_SPEED_FREQ_VERY_HIGH;
  GPIO_InitStruct.Alternate = GPIO_AF7_USART3;
  HAL_GPIO_Init(GPIOD, &GPIO_InitStruct);

  /*Configure GPIO pins : LPS22HB_INT_DRDY_EXTI0_Pin LSM6DSL_INT1_EXTI11_Pin ARD_D2_Pin HTS221_DRDY_EXTI15_Pin
                           PMOD_IRQ_EXTI12_Pin */
  GPIO_InitStruct.Pin = LPS22HB_INT_DRDY_EXTI0_Pin|LSM6DSL_INT1_EXTI11_Pin|ARD_D2_Pin|HTS221_DRDY_EXTI15_Pin
                          |PMOD_IRQ_EXTI12_Pin;
  GPIO_InitStruct.Mode = GPIO_MODE_IT_RISING;
  GPIO_InitStruct.Pull = GPIO_NOPULL;
  HAL_GPIO_Init(GPIOD, &GPIO_InitStruct);

  /*Configure GPIO pins : USB_OTG_FS_PWR_EN_Pin SPBTLE_RF_SPI3_CSN_Pin PMOD_RESET_Pin STSAFE_A100_RESET_Pin */
  GPIO_InitStruct.Pin = USB_OTG_FS_PWR_EN_Pin|SPBTLE_RF_SPI3_CSN_Pin|PMOD_RESET_Pin|STSAFE_A100_RESET_Pin;
  GPIO_InitStruct.Mode = GPIO_MODE_OUTPUT_PP;
  GPIO_InitStruct.Pull = GPIO_NOPULL;
  GPIO_InitStruct.Speed = GPIO_SPEED_FREQ_LOW;
  HAL_GPIO_Init(GPIOD, &GPIO_InitStruct);

  /*Configure GPIO pins : VL53L0X_XSHUT_Pin LED3_WIFI__LED4_BLE_Pin */
  GPIO_InitStruct.Pin = VL53L0X_XSHUT_Pin|LED3_WIFI__LED4_BLE_Pin;
  GPIO_InitStruct.Mode = GPIO_MODE_OUTPUT_PP;
  GPIO_InitStruct.Pull = GPIO_NOPULL;
  GPIO_InitStruct.Speed = GPIO_SPEED_FREQ_LOW;
  HAL_GPIO_Init(GPIOC, &GPIO_InitStruct);

  /*Configure GPIO pins : VL53L0X_GPIO1_EXTI7_Pin LSM3MDL_DRDY_EXTI8_Pin */
  GPIO_InitStruct.Pin = VL53L0X_GPIO1_EXTI7_Pin|LSM3MDL_DRDY_EXTI8_Pin;
  GPIO_InitStruct.Mode = GPIO_MODE_IT_RISING;
  GPIO_InitStruct.Pull = GPIO_NOPULL;
  HAL_GPIO_Init(GPIOC, &GPIO_InitStruct);

  /*Configure GPIO pin : USB_OTG_FS_VBUS_Pin */
  GPIO_InitStruct.Pin = USB_OTG_FS_VBUS_Pin;
  GPIO_InitStruct.Mode = GPIO_MODE_INPUT;
  GPIO_InitStruct.Pull = GPIO_NOPULL;
  HAL_GPIO_Init(USB_OTG_FS_VBUS_GPIO_Port, &GPIO_InitStruct);

  /*Configure GPIO pins : USB_OTG_FS_ID_Pin USB_OTG_FS_DM_Pin USB_OTG_FS_DP_Pin */
  GPIO_InitStruct.Pin = USB_OTG_FS_ID_Pin|USB_OTG_FS_DM_Pin|USB_OTG_FS_DP_Pin;
  GPIO_InitStruct.Mode = GPIO_MODE_AF_PP;
  GPIO_InitStruct.Pull = GPIO_NOPULL;
  GPIO_InitStruct.Speed = GPIO_SPEED_FREQ_VERY_HIGH;
  GPIO_InitStruct.Alternate = GPIO_AF10_OTG_FS;
  HAL_GPIO_Init(GPIOA, &GPIO_InitStruct);

  /*Configure GPIO pins : INTERNAL_SPI3_SCK_Pin INTERNAL_SPI3_MISO_Pin INTERNAL_SPI3_MOSI_Pin */
  GPIO_InitStruct.Pin = INTERNAL_SPI3_SCK_Pin|INTERNAL_SPI3_MISO_Pin|INTERNAL_SPI3_MOSI_Pin;
  GPIO_InitStruct.Mode = GPIO_MODE_AF_PP;
  GPIO_InitStruct.Pull = GPIO_NOPULL;
  GPIO_InitStruct.Speed = GPIO_SPEED_FREQ_VERY_HIGH;
  GPIO_InitStruct.Alternate = GPIO_AF6_SPI3;
  HAL_GPIO_Init(GPIOC, &GPIO_InitStruct);

  /*Configure GPIO pin : PMOD_SPI2_SCK_Pin */
  GPIO_InitStruct.Pin = PMOD_SPI2_SCK_Pin;
  GPIO_InitStruct.Mode = GPIO_MODE_AF_PP;
  GPIO_InitStruct.Pull = GPIO_NOPULL;
  GPIO_InitStruct.Speed = GPIO_SPEED_FREQ_VERY_HIGH;
  GPIO_InitStruct.Alternate = GPIO_AF5_SPI2;
  HAL_GPIO_Init(PMOD_SPI2_SCK_GPIO_Port, &GPIO_InitStruct);

  /*Configure GPIO pins : PMOD_UART2_CTS_Pin PMOD_UART2_RTS_Pin PMOD_UART2_TX_Pin PMOD_UART2_RX_Pin */
  GPIO_InitStruct.Pin = PMOD_UART2_CTS_Pin|PMOD_UART2_RTS_Pin|PMOD_UART2_TX_Pin|PMOD_UART2_RX_Pin;
  GPIO_InitStruct.Mode = GPIO_MODE_AF_PP;
  GPIO_InitStruct.Pull = GPIO_NOPULL;
  GPIO_InitStruct.Speed = GPIO_SPEED_FREQ_VERY_HIGH;
  GPIO_InitStruct.Alternate = GPIO_AF7_USART2;
  HAL_GPIO_Init(GPIOD, &GPIO_InitStruct);

  /*Configure GPIO pins : ARD_D15_Pin ARD_D14_Pin */
  GPIO_InitStruct.Pin = ARD_D15_Pin|ARD_D14_Pin;
  GPIO_InitStruct.Mode = GPIO_MODE_AF_OD;
  GPIO_InitStruct.Pull = GPIO_PULLUP;
  GPIO_InitStruct.Speed = GPIO_SPEED_FREQ_VERY_HIGH;
  GPIO_InitStruct.Alternate = GPIO_AF4_I2C1;
  HAL_GPIO_Init(GPIOB, &GPIO_InitStruct);

  /* EXTI interrupt init*/
  HAL_NVIC_SetPriority(EXTI9_5_IRQn, 0, 0);
  HAL_NVIC_EnableIRQ(EXTI9_5_IRQn);

  HAL_NVIC_SetPriority(EXTI15_10_IRQn, 0, 0);
  HAL_NVIC_EnableIRQ(EXTI15_10_IRQn);

}

void _Error_Handler(char *file, int line)
{
  while(1)
  {
  }
}

/************************ (C) COPYRIGHT STMicroelectronics *****END OF FILE****/
